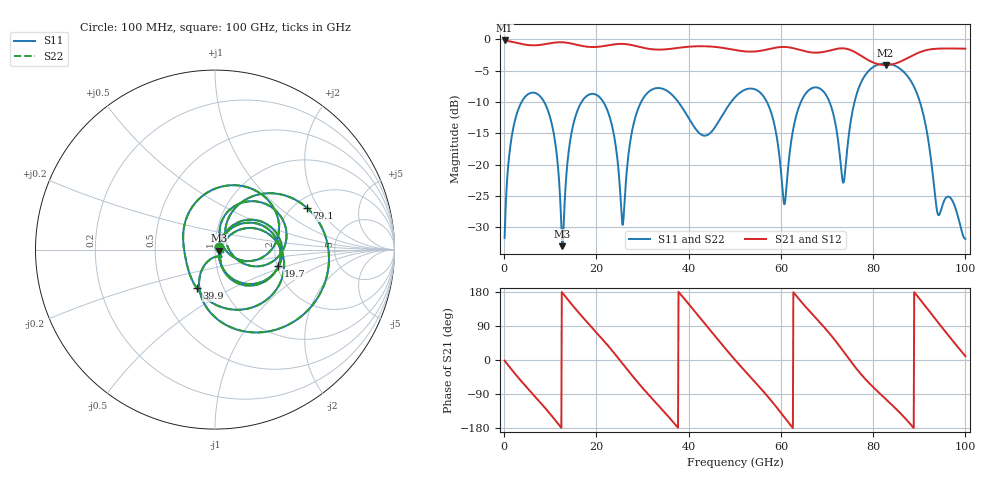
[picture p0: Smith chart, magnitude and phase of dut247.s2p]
! Touchstone file exported from HFSS 2026.1.0
!  File:  C:/ffzhzh/LocalFiles/Ansys_Project_Files/temp_train_TSV_RDL_247_1783668970_26216.aedt
!  Generated:  04:16:48 PM Jul 10, 2026
!  Design:  TSV_RDL
!  Project:  temp_train_TSV_RDL_247_1783668970_26216
! Variables:
!  h_bsmrdl = 2.39um
!  h_ox = 20um
!  h_rdl = 5um
!  h_sub = 96.27um
!  h_tmrdl = 3.41um
!  h_tsv = 96.27um
!  h_via = 3um
!  l_bsmrdl = 567.19um
!  l_sub = 4732.84um
!  l_tmrdl = 618.75um
!  m_sub = 200um
!  pitch = 40.49um
!  r_tsv = 5.74um
!  s_tmrdl = 10um
!  w_bsmrdl = 23.65um
!  w_sub = 500um
!  w_tmrdl = 28.44um
!  x_tsv_center1 = 632.97um
!  x_tsv_center2 = 1223.81um
!  x_tsv_center3 = 1871um
!  x_tsv_center4 = 2461.84um
!  x_tsv_center5 = 3109.03um
!  x_tsv_center6 = 3699.87um
# GHz S MA R 50.000000
! Terminal data exported
! Port[1] = TM_RDL1_1_T1
! Port[2] = TM_RDL5_1_T1
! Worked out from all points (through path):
!   1000 points, 100 MHz to 100 GHz, reference 50 ohm
!   highest |S21| = -0.20 dB at 100 MHz (marker M1); lowest = -4.1 dB at 82.7 GHz (marker M2)
!   group delay of S21, straight-line fit = 39.6 ps
!   lowest |S11| = -33.0 dB at 12.6 GHz (marker M3), VSWR 1.05, Z = 52.2 - j0.702 ohm
!   |S11| at or under -10 dB: 21.5 GHz to 29.7 GHz (8.205 GHz wide, 32.1 % of centre); 37.74 GHz to 49.21 GHz (11.47 GHz wide, 26.4 % of centre); 90.14 GHz to end of sweep (the widest 3 of 7)
!   |S22| runs from -33.0 to -3.9 dB; largest |S21 - S12| = 4.1e-11
!   S11 on the Smith chart (normalised r, x): 100 MHz: 1.05, +0.02; 19.7 GHz: 2.03, -0.43; 39.9 GHz: 0.75, -0.34; 79.1 GHz: 2.34, +1.59; 100 GHz: 1.05, +0.00
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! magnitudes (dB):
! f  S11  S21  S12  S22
! 100 MHz  -31.7  -0.2  -0.2  -31.7
! 2.2 GHz  -13.4  -0.5  -0.5  -13.4
! 6.3 GHz  -8.5  -1.0  -1.0  -8.5
! 10.3 GHz  -13.4  -0.6  -0.6  -13.4
! 12.6 GHz  -33.0  -0.5  -0.5  -33.0
! 16.8 GHz  -10.0  -1.1  -1.1  -10.0
! 19.7 GHz  -8.8  -1.2  -1.2  -8.8
! 23.3 GHz  -13.5  -0.9  -0.9  -13.5
! 25.7 GHz  -29.6  -0.8  -0.8  -29.6
! 28.5 GHz  -12.3  -1.1  -1.1  -12.3
! 33.4 GHz  -7.8  -1.7  -1.7  -7.8
! 39.9 GHz  -12.5  -1.2  -1.2  -12.5
! 50.1 GHz  -9.2  -1.7  -1.7  -9.2
! 57 GHz  -10.1  -1.6  -1.6  -10.1
! 60.8 GHz  -26.3  -1.2  -1.2  -26.3
! 66.7 GHz  -7.8  -2.1  -2.1  -7.8
! 70.7 GHz  -10.3  -1.8  -1.8  -10.3
! 73.5 GHz  -22.9  -1.5  -1.5  -22.9
! 79.1 GHz  -5.0  -3.4  -3.4  -5.0
! 82.7 GHz  -3.9  -4.1  -4.1  -3.9
! 83.4 GHz  -3.9  -4.1  -4.1  -3.9
! 100 GHz  -31.8  -1.5  -1.5  -31.8
